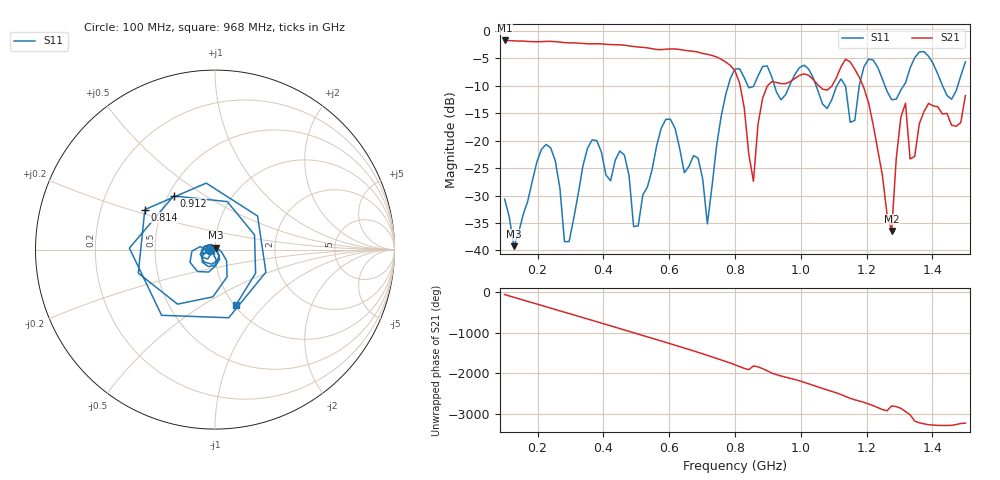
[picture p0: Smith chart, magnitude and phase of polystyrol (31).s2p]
! NanoVNA-App
! Date: 2025-09-26 09:42:07
! Start: 100MHz Stop: 1,5GHz Points: 101
! S-Parameter data: F S11 S21 S12 S22
# Hz S RI R 50
!  Frequency  S11_Real  S11_Imag  S21_Real  S21_Imag  S12_Real  S12_Imag  S22_Real  S22_Imag
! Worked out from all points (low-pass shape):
!   101 points, 100 MHz to 1.5 GHz, reference 50 ohm
!   highest |S21| = -1.79 dB at 100 MHz (marker M1); lowest = -36.4 dB at 1.276 GHz (marker M2)
!   |S21| within 3 dB of the highest: start of sweep to 743.8 MHz
!   lowest |S11| = -39.2 dB at 128 MHz (marker M3), VSWR 1.02, Z = 50.3 + j1.06 ohm
!   |S11| at or under -10 dB: start of sweep to 779.6 MHz; 1.046 GHz to 1.11 GHz (63.84 MHz wide, 5.92 % of centre); 1.255 GHz to 1.313 GHz (57.17 MHz wide, 4.45 % of centre)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
!   S12 and S22 are empty: the file has one direction only
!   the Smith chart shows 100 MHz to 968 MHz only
!   S11 on the Smith chart (normalised r, x): 100 MHz: 0.94, -0.01; 814 MHz: 0.40, +0.22; 912 MHz: 0.53, +0.37; 968 MHz: 1.02, -0.70
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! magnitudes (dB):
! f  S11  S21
! 100 MHz  -30.7  -1.8
! 128 MHz  -39.2  -1.9
! 212 MHz  -21.6  -2.0
! 254 MHz  -23.7  -2.0
! 282 MHz  -38.4  -2.2
! 338 MHz  -24.6  -2.3
! 464 MHz  -22.6  -2.6
! 506 MHz  -35.5  -3.0
! 576 MHz  -17.7  -3.5
! 688 MHz  -23.2  -3.9
! 716 MHz  -35.2  -4.3
! 800 MHz  -7.0  -7.3
! 814 MHz  -6.9  -9.6
! 856 MHz  -10.2  -27.4
! 912 MHz  -8.5  -9.3
! 968 MHz  -9.7  -9.3
! 1.038 GHz  -8.6  -8.9
! 1.178 GHz  -9.8  -8.5
! 1.276 GHz  -12.6  -36.4
! 1.318 GHz  -9.5  -13.2
! 1.332 GHz  -6.8  -23.3
! 1.5 GHz  -5.7  -11.8
